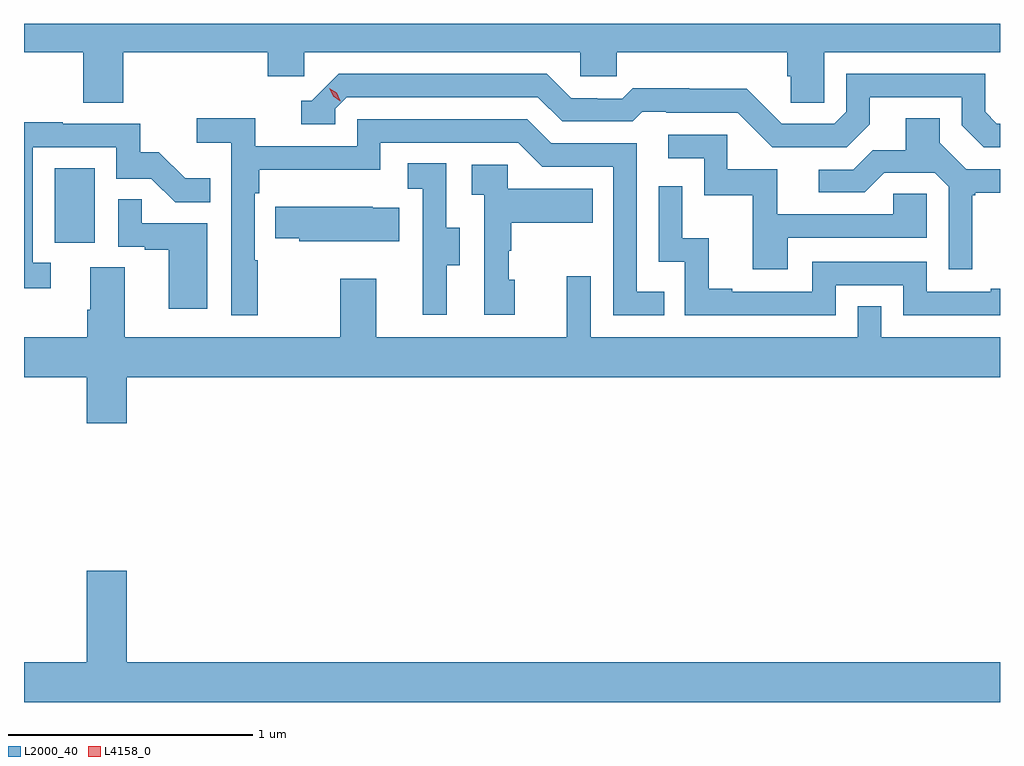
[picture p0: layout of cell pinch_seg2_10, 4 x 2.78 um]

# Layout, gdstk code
import gdstk
lib = gdstk.Library(unit=1e-6, precision=1e-09)
def R(c, l, rs):  # rectangles x0, y0, x1, y1
    for r in rs: c.add(gdstk.rectangle(r[:2], r[2:], *l))
def P(c, l, *ps):  # polygons
    for p in ps: c.add(gdstk.Polygon(p, *l))
L2000_40 = (2000, 40)
L4158_0 = (4158, 0)

pinch_seg2_10 = lib.new_cell('pinch_seg2_10')
R(pinch_seg2_10, L2000_40, [(1141.898,665.502,1142.062,665.809)])
P(pinch_seg2_10, L2000_40, [(1142.18,666.284),(1142.771,666.284),(1142.771,666.186),(1142.922,666.186),(1142.922,666.284),(1144.053,666.284),(1144.053,666.186),(1144.203,666.186),(1144.203,666.284),(1144.901,666.284),(1144.901,666.186),(1144.915,666.186),(1144.915,666.076),(1145.052,666.076),(1145.052,666.284),(1145.773,666.284),(1145.773,666.4),(1141.773,666.4),(1141.773,666.284),(1142.015,666.284),(1142.015,666.076),(1142.18,666.076)],
  [(1145.239,665.989),(1145.239,666.099),(1145.616,666.099),(1145.616,665.985),(1145.706,665.895),(1145.773,665.895),(1145.773,665.991),(1145.76,665.991),(1145.712,666.039),(1145.712,666.195),(1145.142,666.195),(1145.142,666.039),(1145.094,665.991),(1144.878,665.991),(1144.736,666.133),(1144.5,666.133),(1144.5,666.136),(1144.267,666.136),(1144.225,666.093),(1144.122,666.093),(1144.122,666.096),(1144.015,666.096),(1143.916,666.195),(1143.063,666.195),(1142.952,666.084),(1142.909,666.084),(1142.909,665.988),(1143.048,665.988),(1143.048,666.051),(1143.096,666.099),(1143.879,666.099),(1143.978,666),(1144.267,666),(1144.306,666.039),(1144.405,666.039),(1144.405,666.036),(1144.698,666.036),(1144.839,665.895),(1145.145,665.895)],
  [(1142.731,665.432),(1142.718,665.432),(1142.718,665.705),(1142.738,665.705),(1142.738,665.801),(1143.234,665.801),(1143.234,665.913),(1143.798,665.913),(1143.897,665.814),(1144.188,665.814),(1144.188,665.205),(1144.397,665.205),(1144.397,665.301),(1144.284,665.301),(1144.284,665.91),(1143.934,665.91),(1143.835,666.009),(1143.138,666.009),(1143.138,665.898),(1142.72,665.898),(1142.72,666.014),(1142.481,666.014),(1142.481,665.912),(1142.622,665.912),(1142.622,665.205),(1142.731,665.205)],
  [(1145.659,665.697),(1145.671,665.697),(1145.671,665.708),(1145.773,665.708),(1145.773,665.805),(1145.634,665.805),(1145.527,665.912),(1145.527,666.014),(1145.387,666.014),(1145.387,665.882),(1145.252,665.882),(1145.172,665.802),(1145.031,665.802),(1145.031,665.709),(1145.218,665.709),(1145.299,665.79),(1145.505,665.79),(1145.562,665.733),(1145.562,665.394),(1145.659,665.394)],
  [(1141.882,665.421),(1141.809,665.421),(1141.809,665.895),(1142.151,665.895),(1142.151,665.766),(1142.295,665.766),(1142.393,665.668),(1142.537,665.668),(1142.537,665.767),(1142.433,665.767),(1142.326,665.874),(1142.25,665.874),(1142.25,665.991),(1141.931,665.991),(1141.931,665.996),(1141.773,665.996),(1141.773,665.316),(1141.882,665.316)],
  [(1144.903,665.523),(1145.472,665.523),(1145.472,665.703),(1145.335,665.703),(1145.335,665.619),(1144.861,665.619),(1144.861,665.805),(1144.656,665.805),(1144.656,665.946),(1144.413,665.946),(1144.413,665.85),(1144.56,665.85),(1144.56,665.697),(1144.759,665.697),(1144.759,665.394),(1144.903,665.394)],
  [(1143.505,665.41),(1143.559,665.41),(1143.559,665.565),(1143.504,665.565),(1143.504,665.828),(1143.345,665.828),(1143.345,665.725),(1143.408,665.725),(1143.408,665.421),(1143.407,665.421),(1143.407,665.208),(1143.505,665.208)],
  [(1143.784,665.352),(1143.759,665.352),(1143.759,665.471),(1143.769,665.471),(1143.769,665.585),(1144.103,665.585),(1144.103,665.725),(1143.756,665.725),(1143.756,665.823),(1143.609,665.823),(1143.609,665.699),(1143.66,665.699),(1143.66,665.208),(1143.784,665.208)],
  [(1145.1,665.328),(1145.376,665.328),(1145.376,665.205),(1145.773,665.205),(1145.773,665.314),(1145.735,665.314),(1145.735,665.301),(1145.472,665.301),(1145.472,665.424),(1145.004,665.424),(1145.004,665.301),(1144.675,665.301),(1144.675,665.314),(1144.58,665.314),(1144.58,665.522),(1144.47,665.522),(1144.47,665.734),(1144.374,665.734),(1144.374,665.424),(1144.482,665.424),(1144.482,665.205),(1145.1,665.205)],
  [(1142.524,665.583),(1142.255,665.583),(1142.255,665.681),(1142.16,665.681),(1142.16,665.487),(1142.267,665.487),(1142.267,665.475),(1142.366,665.475),(1142.366,665.232),(1142.524,665.232)],
  [(1143.311,665.647),(1143.203,665.647),(1143.203,665.65),(1142.803,665.65),(1142.803,665.521),(1142.901,665.521),(1142.901,665.51),(1143.311,665.51)],
  [(1142.194,664.952),(1145.773,664.952),(1145.773,665.116),(1145.286,665.116),(1145.286,665.243),(1145.19,665.243),(1145.19,665.116),(1144.095,665.116),(1144.095,665.365),(1143.998,665.365),(1143.998,665.116),(1143.217,665.116),(1143.217,665.356),(1143.07,665.356),(1143.07,665.116),(1142.185,665.116),(1142.185,665.402),(1142.045,665.402),(1142.045,665.228),(1142.033,665.228),(1142.033,665.116),(1141.773,665.116),(1141.773,664.952),(1142.03,664.952),(1142.03,664.764),(1142.194,664.764)],
  [(1145.773,663.784),(1142.194,663.784),(1142.194,664.159),(1142.03,664.159),(1142.03,663.784),(1141.773,663.784),(1141.773,663.62),(1145.773,663.62)])
P(pinch_seg2_10, L4158_0, [(1143.07,666.083),(1143.04,666.104),(1143.024,666.137),(1143.024,666.137),(1143.025,666.137),(1143.055,666.117),(1143.07,666.084),(1143.07,666.083)])

lib.write_gds('pinch_seg2_10.gds')
